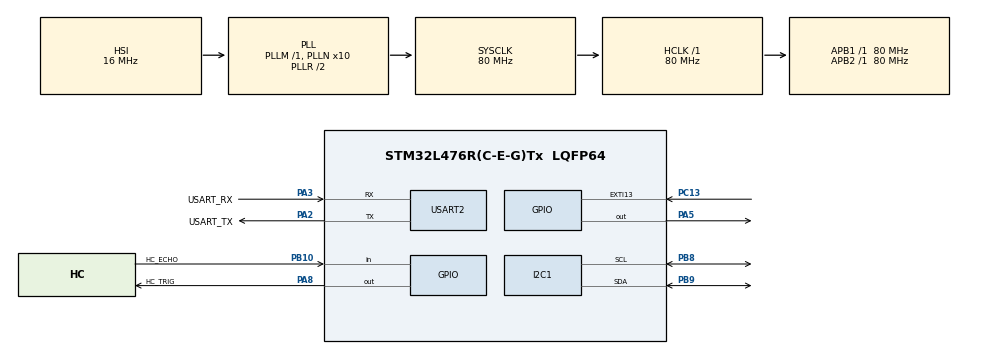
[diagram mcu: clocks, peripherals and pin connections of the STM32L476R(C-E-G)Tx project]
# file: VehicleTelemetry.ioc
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I2C1.Timing=0x10D19CE4
Mcu.Family=STM32L4
Mcu.Name=STM32L476R(C-E-G)Tx
Mcu.Package=LQFP64
NUCLEO-L476RG.BUTTON=1
NUCLEO-L476RG.LD2=true
NVIC.EXTI15_10_IRQn=true\:0\:0\:false\:false\:true\:false\:true\:true
NVIC.PriorityGroup=NVIC_PRIORITYGROUP_4
PA13\ (JTMS-SWDIO).GPIO_Label=TMS
PA13\ (JTMS-SWDIO).Signal=SYS_JTMS-SWDIO
PA14\ (JTCK-SWCLK).GPIO_Label=TCK
PA14\ (JTCK-SWCLK).Signal=SYS_JTCK-SWCLK
PA2.GPIO_Label=USART_TX
PA2.GPIO_Mode=GPIO_MODE_AF_PP
PA2.GPIO_PuPd=GPIO_NOPULL
PA2.GPIO_Speed=GPIO_SPEED_FREQ_VERY_HIGH
PA2.Mode=Asynchronous
PA2.Signal=USART2_TX
PA3.GPIO_Label=USART_RX
PA3.GPIO_Mode=GPIO_MODE_AF_PP
PA3.GPIO_PuPd=GPIO_NOPULL
PA3.GPIO_Speed=GPIO_SPEED_FREQ_VERY_HIGH
PA3.Mode=Asynchronous
PA3.Signal=USART2_RX
PA5.Signal=GPIO_Output
PA8.GPIO_Label=HC_TRIG
PA8.Signal=GPIO_Output
PB10.GPIO_Label=HC_ECHO
PB10.Signal=GPIO_Input
PB3\ (JTDO-TRACESWO).GPIO_Label=SWO
PB3\ (JTDO-TRACESWO).Signal=SYS_JTDO-SWO
PB8.Mode=I2C
PB8.Signal=I2C1_SCL
PB9.Mode=I2C
PB9.Signal=I2C1_SDA
PC13.Signal=GPXTI13
PC14-OSC32_IN\ (PC14).Signal=RCC_OSC32_IN
PC15-OSC32_OUT\ (PC15).Signal=RCC_OSC32_OUT
PH0-OSC_IN\ (PH0).Signal=RCC_OSC_IN
PH1-OSC_OUT\ (PH1).Signal=RCC_OSC_OUT
ProjectManager.HeapSize=0x200
ProjectManager.StackSize=0x400
ProjectManager.TargetToolchain=STM32CubeIDE
RCC.ADCFreq_Value=64000000
RCC.AHBFreq_Value=80000000
RCC.APB1Freq_Value=80000000
RCC.APB1TimFreq_Value=80000000
RCC.APB2Freq_Value=80000000
RCC.APB2TimFreq_Value=80000000
RCC.CortexFreq_Value=80000000
RCC.HCLKFreq_Value=80000000
RCC.HSE_VALUE=8000000
RCC.HSI_VALUE=16000000
RCC.LSE_VALUE=32768
RCC.MSI_VALUE=4000000
RCC.PLLN=10
RCC.PLLSourceVirtual=RCC_PLLSOURCE_HSI
RCC.PREFETCH_ENABLE=1
RCC.SYSCLKFreq_VALUE=80000000
RCC.SYSCLKSource=RCC_SYSCLKSOURCE_PLLCLK
RCC.USBFreq_Value=64000000
RCC.VCOOutputFreq_Value=160000000
TIM2.Prescaler=79
USART2.VirtualMode-Asynchronous=VM_ASYNC
VP_NUCLEO-L476RG_VS_BSP_COMMON.Mode=COMMON
VP_TIM2_VS_ClockSourceINT.Mode=Internal
board=NUCLEO-L476RG

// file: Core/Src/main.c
/* USER CODE BEGIN Header */
/**
  ******************************************************************************
  * @file           : main.c
  * @brief          : Main program body
  ******************************************************************************
  * @attention
  *
  * Copyright (c) 2026 STMicroelectronics.
  * All rights reserved.
  *
  * This software is licensed under terms that can be found in the LICENSE file
  * in the root directory of this software component.
  * If no LICENSE file comes with this software, it is provided AS-IS.
  *
  ******************************************************************************
  */
/* USER CODE END Header */
#include "main.h"

/* USER CODE BEGIN Includes */
#include <stdio.h>
#include <string.h>
/* USER CODE END Includes */

I2C_HandleTypeDef hi2c1;

TIM_HandleTypeDef htim2;

UART_HandleTypeDef huart2;

/* USER CODE BEGIN PV */
int16_t accel_x = 0;
int16_t accel_y = 0;
int16_t accel_z = 0;

int16_t gyro_x = 0;
int16_t gyro_y = 0;
int16_t gyro_z = 0;

int32_t ax_offset_raw = 0;
int32_t ay_offset_raw = 0;
int32_t az_offset_raw = 0;

int32_t gx_offset = 0;
int32_t gy_offset = 0;
int32_t gz_offset = 0;

int accel_count = 0;
int brake_count = 0;

int left_turn_count = 0;
int right_turn_count = 0;

uint32_t distance_samples[3] = {0, 0, 0};
uint8_t distance_index = 0;
uint8_t distance_samples_filled = 0;
/* USER CODE END PV */

void SystemClock_Config(void);
static void MX_GPIO_Init(void);
static void MX_USART2_UART_Init(void);
static void MX_I2C1_Init(void);
static void MX_TIM2_Init(void);

/* USER CODE BEGIN 0 */
uint32_t median3(uint32_t a, uint32_t b, uint32_t c)
{
    if (a > b)
    {
        uint32_t temp = a;
        a = b;
        b = temp;
    }

    if (b > c)
    {
        uint32_t temp = b;
        b = c;
        c = temp;
    }

    if (a > b)
    {
        uint32_t temp = a;
        a = b;
        b = temp;
    }

    return b;
}
/* USER CODE END 0 */

int main(void)
{

  /* MCU Configuration--------------------------------------------------------*/

  /* Reset of all peripherals, Initializes the Flash interface and the Systick. */
  HAL_Init();

  /* Configure the system clock */
  SystemClock_Config();

  /* Initialize all configured peripherals */
  MX_GPIO_Init();
  MX_USART2_UART_Init();
  MX_I2C1_Init();
  MX_TIM2_Init();
  /* USER CODE BEGIN 2 */

  char message[] = "Hello from STM32!\r\n";

  HAL_UART_Transmit(&huart2,
                    (uint8_t *)message,
                    strlen(message),
                    HAL_MAX_DELAY);

  uint8_t who_am_i = 0;
  HAL_StatusTypeDef status;
  char buffer[64];

  status = HAL_I2C_Mem_Read(&hi2c1, (0x68 << 1), 0x75, I2C_MEMADD_SIZE_8BIT, &who_am_i, 1, 100);

  if(status == HAL_OK){
	  snprintf(buffer, sizeof(buffer), "MPU6050 WHO_AM_I = 0x%02X\r\n", who_am_i);
  }
  else{
	  snprintf(buffer, sizeof(buffer), "MPU6050 I2C ERROR\r\n");

  }

  HAL_UART_Transmit(&huart2, (uint8_t *)buffer, strlen(buffer), HAL_MAX_DELAY);

  uint8_t wake = 0x00;
  //wake mpu6050
  HAL_I2C_Mem_Write(&hi2c1, (0x68 << 1), 0x6B, I2C_MEMADD_SIZE_8BIT, &wake, 1, 100);

  //starts timer
  HAL_TIM_Base_Start(&htim2);

  // Give sensor time to stabilize
  HAL_Delay(500);

  // ========================================
  // ACCELEROMETER CALIBRATION - 500 samples
  // ========================================
  int64_t ax_sum = 0;
  int64_t ay_sum = 0;
  int64_t az_sum = 0;

  uint8_t accel_cal[6];

  for(int i = 0; i < 500; i++){
	  //read accelerometer
	  HAL_I2C_Mem_Read(&hi2c1, (0x68 << 1), 0x3B, I2C_MEMADD_SIZE_8BIT, accel_cal, 6, 100);

	  int16_t ax_raw = (int16_t)((accel_cal[0] << 8) | accel_cal[1]);
	  int16_t ay_raw = (int16_t)((accel_cal[2] << 8) | accel_cal[3]);
	  int16_t az_raw = (int16_t)((accel_cal[4] << 8) | accel_cal[5]);

	  // accumulate raw accelerometer readings
	  ax_sum += ax_raw;
	  ay_sum += ay_raw;
	  az_sum += az_raw;

	  HAL_Delay(2);

  }

  ax_offset_raw = ax_sum / 500;
  ay_offset_raw = ay_sum / 500;
  az_offset_raw = az_sum / 500;

  // ========================================
  // GYROSCOPE CALIBRATION - keep 100 loop
  // ========================================

  int32_t gx_sum = 0;
  int32_t gy_sum = 0;
  int32_t gz_sum = 0;

  uint8_t gyro_cal[6];

  for(int i = 0; i < 100; i++){

	  //read gyroscope
	  HAL_I2C_Mem_Read(&hi2c1, (0x68 << 1), 0x43, I2C_MEMADD_SIZE_8BIT, gyro_cal, 6, 100);

	  int16_t gx_raw = (int16_t)((gyro_cal[0] << 8) | gyro_cal[1]);
	  int16_t gy_raw = (int16_t)((gyro_cal[2] << 8) | gyro_cal[3]);
	  int16_t gz_raw = (int16_t)((gyro_cal[4] << 8) | gyro_cal[5]);

	  gx_sum += gx_raw / 131;
	  gy_sum += gy_raw / 131;
	  gz_sum += gz_raw / 131;

	  HAL_Delay(10);

  }

  gx_offset = gx_sum / 100;
  gy_offset = gy_sum / 100;
  gz_offset = gz_sum / 100;

  /* USER CODE END 2 */

  /* Initialize leds */
  BSP_LED_Init(LED_GREEN);

  /* Initialize USER push-button, will be used to trigger an interrupt each time it's pressed.*/
  BSP_PB_Init(BUTTON_USER, BUTTON_MODE_EXTI);

  /* Infinite loop */
  /* USER CODE BEGIN WHILE */
  while (1)
  {
	  uint32_t echo_time = 0;
	  uint32_t distance_cm = 0;
	  uint8_t echo_valid = 1;
	  uint32_t filtered_distance_cm = 0;
    /* USER CODE END WHILE */

    /* USER CODE BEGIN 3 */

	//Make sure TRIG begins LOW
	HAL_GPIO_WritePin(HC_TRIG_GPIO_Port, HC_TRIG_Pin, GPIO_PIN_RESET);

	//wait about 2 microseconds
	__HAL_TIM_SET_COUNTER(&htim2, 0);
	while(__HAL_TIM_GET_COUNTER(&htim2) < 2){
		//waiting
	}
	//Sed=nd the HC_SR04 trigger pulse
	HAL_GPIO_WritePin(HC_TRIG_GPIO_Port, HC_TRIG_Pin, GPIO_PIN_SET);

	//keep it HIGH for 10 microseconds
	__HAL_TIM_SET_COUNTER(&htim2, 0);
	while(__HAL_TIM_GET_COUNTER(&htim2) < 10){
		//waiting
	}
	//End trigger pulse
	HAL_GPIO_WritePin(HC_TRIG_GPIO_Port, HC_TRIG_Pin, GPIO_PIN_RESET);

	// Reset timer while waiting for ECHO to begin
	__HAL_TIM_SET_COUNTER(&htim2, 0);

	// Wait for ECHO to go HIGH
	while (HAL_GPIO_ReadPin(HC_ECHO_GPIO_Port, HC_ECHO_Pin) == GPIO_PIN_RESET)
	{
	    // Give up if no echo arrives within 30 ms
	    if (__HAL_TIM_GET_COUNTER(&htim2) > 30000)
	    {
	        echo_valid = 0;
	        break;
	    }
	}

	// Only measure pulse if ECHO actually arrived
	if (echo_valid)
	{
	    // ECHO is HIGH now, so start timing FROM ZERO
	    __HAL_TIM_SET_COUNTER(&htim2, 0);

	    // Wait for ECHO to go LOW
	    while (HAL_GPIO_ReadPin(HC_ECHO_GPIO_Port, HC_ECHO_Pin) == GPIO_PIN_SET)
	    {
	        if (__HAL_TIM_GET_COUNTER(&htim2) > 30000)
	        {
	            echo_valid = 0;
	            break;
	        }
	    }

	    // Only calculate distance if pulse completed successfully
	    if (echo_valid)
	    {
	        echo_time = __HAL_TIM_GET_COUNTER(&htim2);
	        distance_cm = echo_time / 58;

	        // Save this valid reading into our 3-reading history
	        distance_samples[distance_index] = distance_cm;

	        // Move to the next position: 0 -> 1 -> 2 -> 0...
	        distance_index++;

	        if (distance_index >= 3)
	        {
	            distance_index = 0;
	        }

	        // Keep track of whether we have collected all 3 yet
	        if (distance_samples_filled < 3)
	        {
	            distance_samples_filled++;
	        }

	        // Once we have 3 readings, use their median
	        if (distance_samples_filled == 3)
	        {
	            filtered_distance_cm = median3(distance_samples[0],
	                                           distance_samples[1],
	                                           distance_samples[2]);
	        }
	        else
	        {
	            // During the first two readings, just use the current value
	            filtered_distance_cm = distance_cm;
	        }
	    }
	}

	uint8_t accel_data[6];
	uint8_t gyro_data[6];

	HAL_I2C_Mem_Read(&hi2c1, (0x68 << 1), 0x3B, I2C_MEMADD_SIZE_8BIT, accel_data, 6, 100);
	HAL_I2C_Mem_Read(&hi2c1, (0x68 << 1), 0x43, I2C_MEMADD_SIZE_8BIT, gyro_data, 6, 100);

	accel_x = (int16_t)((accel_data[0] << 8) | accel_data[1]);
	accel_y = (int16_t)((accel_data[2] << 8) | accel_data[3]);
	accel_z = (int16_t)((accel_data[4] << 8) | accel_data[5]);

	gyro_x = (int16_t)((gyro_data[0] << 8) | gyro_data[1]);
	gyro_y = (int16_t)((gyro_data[2] << 8) | gyro_data[3]);
	gyro_z = (int16_t)((gyro_data[4] << 8) | gyro_data[5]);

	int32_t ax_mg = ((int32_t)(accel_x - ax_offset_raw) * 1000) / 16384;
	int32_t ay_mg = ((int32_t)(accel_y - ay_offset_raw) * 1000) / 16384;
	int32_t az_mg = ((int32_t)(accel_z - az_offset_raw) * 1000) / 16384;

	int32_t gx_dps = gyro_x / 131;
	int32_t gy_dps = gyro_y / 131;
	int32_t gz_dps = gyro_z / 131;

	//subtract offset
	gx_dps -= gx_offset;
	gy_dps -= gy_offset;
	gz_dps -= gz_offset;

	//get driving state
	char driving_state[30];

	if(ay_mg > 300){
		accel_count++;
		brake_count = 0;
	}
	else if(ay_mg < -300){
		brake_count++;
		accel_count = 0;
	}
	else{
		accel_count = 0;
		brake_count = 0;
	}
	// Only declare an event after 3 consecutive readings
	if(accel_count >= 3){
		strcpy(driving_state, "ACCELERATING");
	}
	else if(brake_count >= 3){
		strcpy(driving_state, "BRAKING");
	}
	else{
		strcpy(driving_state, "NORMAL");
	}

	char turn_state[20];

	// Negative GZ = counterclockwise = left
	if (gz_dps < -30)
	{
	    left_turn_count++;
	    right_turn_count = 0;
	}

	// Positive GZ = clockwise = right
	else if (gz_dps > 30)
	{
	    right_turn_count++;
	    left_turn_count = 0;
	}

	// Not rotating enough to count as a turn
	else
	{
	    left_turn_count = 0;
	    right_turn_count = 0;
	}

	// Require 3 consecutive readings
	if (left_turn_count >= 3)
	{
	    strcpy(turn_state, "LEFT");
	}
	else if (right_turn_count >= 3)
	{
	    strcpy(turn_state, "RIGHT");
	}
	else
	{
	    strcpy(turn_state, "STRAIGHT");
	}

	char obstacle_state[20];

	if (!echo_valid)
	{
	    strcpy(obstacle_state, "UNKNOWN");
	}
	else if (filtered_distance_cm <= 20)
	{
	    strcpy(obstacle_state, "OBSTACLE");
	}
	else if (filtered_distance_cm <= 50)
	{
	    strcpy(obstacle_state, "CAUTION");
	}
	else
	{
	    strcpy(obstacle_state, "SAFE");
	}

	// Onboard LED acts as an obstacle warning
	if (echo_valid && filtered_distance_cm <= 20)
	{
	    BSP_LED_On(LED_GREEN);
	}
	else
	{
	    BSP_LED_Off(LED_GREEN);
	}

	//one clean line
	char telemetry_buffer[220];

	if (echo_valid)
	{
	    snprintf(telemetry_buffer,
	             sizeof(telemetry_buffer),
	             "ACCEL[X:%ld Y:%ld Z:%ld mg]  DRIVE:%s  "
	             "GYRO[X:%ld Y:%ld Z:%ld dps]  TURN:%s  "
	             "DIST:%lu cm  OBJECT:%s\r\n",
	             ax_mg,
	             ay_mg,
	             az_mg,
	             driving_state,
	             gx_dps,
	             gy_dps,
	             gz_dps,
	             turn_state,
	             filtered_distance_cm,
	             obstacle_state);
	}
	else
	{
	    snprintf(telemetry_buffer,
	             sizeof(telemetry_buffer),
	             "ACCEL[X:%ld Y:%ld Z:%ld mg]  DRIVE:%s  "
	             "GYRO[X:%ld Y:%ld Z:%ld dps]  TURN:%s  "
	             "DIST:NO ECHO  OBJECT:UNKNOWN\r\n",
	             ax_mg,
	             ay_mg,
	             az_mg,
	             driving_state,
	             gx_dps,
	             gy_dps,
	             gz_dps,
	             turn_state);
	}

	HAL_UART_Transmit(&huart2,
	                  (uint8_t *)telemetry_buffer,
	                  strlen(telemetry_buffer),
	                  HAL_MAX_DELAY);

	HAL_Delay(100);
  }
  /* USER CODE END 3 */
}

void SystemClock_Config(void)
{
  RCC_OscInitTypeDef RCC_OscInitStruct = {0};
  RCC_ClkInitTypeDef RCC_ClkInitStruct = {0};

  /** Configure the main internal regulator output voltage
  */
  if (HAL_PWREx_ControlVoltageScaling(PWR_REGULATOR_VOLTAGE_SCALE1) != HAL_OK)
  {
    Error_Handler();
  }

  /** Initializes the RCC Oscillators according to the specified parameters
  * in the RCC_OscInitTypeDef structure.
  */
  RCC_OscInitStruct.OscillatorType = RCC_OSCILLATORTYPE_HSI;
  RCC_OscInitStruct.HSIState = RCC_HSI_ON;
  RCC_OscInitStruct.HSICalibrationValue = RCC_HSICALIBRATION_DEFAULT;
  RCC_OscInitStruct.PLL.PLLState = RCC_PLL_ON;
  RCC_OscInitStruct.PLL.PLLSource = RCC_PLLSOURCE_HSI;
  RCC_OscInitStruct.PLL.PLLM = 1;
  RCC_OscInitStruct.PLL.PLLN = 10;
  RCC_OscInitStruct.PLL.PLLP = RCC_PLLP_DIV7;
  RCC_OscInitStruct.PLL.PLLQ = RCC_PLLQ_DIV2;
  RCC_OscInitStruct.PLL.PLLR = RCC_PLLR_DIV2;
  if (HAL_RCC_OscConfig(&RCC_OscInitStruct) != HAL_OK)
  {
    Error_Handler();
  }

  /** Initializes the CPU, AHB and APB buses clocks
  */
  RCC_ClkInitStruct.ClockType = RCC_CLOCKTYPE_HCLK|RCC_CLOCKTYPE_SYSCLK
                              |RCC_CLOCKTYPE_PCLK1|RCC_CLOCKTYPE_PCLK2;
  RCC_ClkInitStruct.SYSCLKSource = RCC_SYSCLKSOURCE_PLLCLK;
  RCC_ClkInitStruct.AHBCLKDivider = RCC_SYSCLK_DIV1;
  RCC_ClkInitStruct.APB1CLKDivider = RCC_HCLK_DIV1;
  RCC_ClkInitStruct.APB2CLKDivider = RCC_HCLK_DIV1;

  if (HAL_RCC_ClockConfig(&RCC_ClkInitStruct, FLASH_LATENCY_4) != HAL_OK)
  {
    Error_Handler();
  }
}

static void MX_I2C1_Init(void)
{

  hi2c1.Instance = I2C1;
  hi2c1.Init.Timing = 0x10D19CE4;
  hi2c1.Init.OwnAddress1 = 0;
  hi2c1.Init.AddressingMode = I2C_ADDRESSINGMODE_7BIT;
  hi2c1.Init.DualAddressMode = I2C_DUALADDRESS_DISABLE;
  hi2c1.Init.OwnAddress2 = 0;
  hi2c1.Init.OwnAddress2Masks = I2C_OA2_NOMASK;
  hi2c1.Init.GeneralCallMode = I2C_GENERALCALL_DISABLE;
  hi2c1.Init.NoStretchMode = I2C_NOSTRETCH_DISABLE;
  if (HAL_I2C_Init(&hi2c1) != HAL_OK)
  {
    Error_Handler();
  }

  /** Configure Analogue filter
  */
  if (HAL_I2CEx_ConfigAnalogFilter(&hi2c1, I2C_ANALOGFILTER_ENABLE) != HAL_OK)
  {
    Error_Handler();
  }

  /** Configure Digital filter
  */
  if (HAL_I2CEx_ConfigDigitalFilter(&hi2c1, 0) != HAL_OK)
  {
    Error_Handler();
  }

}

static void MX_TIM2_Init(void)
{

  TIM_ClockConfigTypeDef sClockSourceConfig = {0};
  TIM_MasterConfigTypeDef sMasterConfig = {0};

  htim2.Instance = TIM2;
  htim2.Init.Prescaler = 79;
  htim2.Init.CounterMode = TIM_COUNTERMODE_UP;
  htim2.Init.Period = 4294967295;
  htim2.Init.ClockDivision = TIM_CLOCKDIVISION_DIV1;
  htim2.Init.AutoReloadPreload = TIM_AUTORELOAD_PRELOAD_DISABLE;
  if (HAL_TIM_Base_Init(&htim2) != HAL_OK)
  {
    Error_Handler();
  }
  sClockSourceConfig.ClockSource = TIM_CLOCKSOURCE_INTERNAL;
  if (HAL_TIM_ConfigClockSource(&htim2, &sClockSourceConfig) != HAL_OK)
  {
    Error_Handler();
  }
  sMasterConfig.MasterOutputTrigger = TIM_TRGO_RESET;
  sMasterConfig.MasterSlaveMode = TIM_MASTERSLAVEMODE_DISABLE;
  if (HAL_TIMEx_MasterConfigSynchronization(&htim2, &sMasterConfig) != HAL_OK)
  {
    Error_Handler();
  }

}

static void MX_USART2_UART_Init(void)
{

  huart2.Instance = USART2;
  huart2.Init.BaudRate = 115200;
  huart2.Init.WordLength = UART_WORDLENGTH_8B;
  huart2.Init.StopBits = UART_STOPBITS_1;
  huart2.Init.Parity = UART_PARITY_NONE;
  huart2.Init.Mode = UART_MODE_TX_RX;
  huart2.Init.HwFlowCtl = UART_HWCONTROL_NONE;
  huart2.Init.OverSampling = UART_OVERSAMPLING_16;
  huart2.Init.OneBitSampling = UART_ONE_BIT_SAMPLE_DISABLE;
  huart2.AdvancedInit.AdvFeatureInit = UART_ADVFEATURE_NO_INIT;
  if (HAL_UART_Init(&huart2) != HAL_OK)
  {
    Error_Handler();
  }

}

static void MX_GPIO_Init(void)
{
  GPIO_InitTypeDef GPIO_InitStruct = {0};

  /* GPIO Ports Clock Enable */
  __HAL_RCC_GPIOC_CLK_ENABLE();
  __HAL_RCC_GPIOH_CLK_ENABLE();
  __HAL_RCC_GPIOA_CLK_ENABLE();
  __HAL_RCC_GPIOB_CLK_ENABLE();

  /*Configure GPIO pin Output Level */
  HAL_GPIO_WritePin(HC_TRIG_GPIO_Port, HC_TRIG_Pin, GPIO_PIN_RESET);

  /*Configure GPIO pin : HC_ECHO_Pin */
  GPIO_InitStruct.Pin = HC_ECHO_Pin;
  GPIO_InitStruct.Mode = GPIO_MODE_INPUT;
  GPIO_InitStruct.Pull = GPIO_NOPULL;
  HAL_GPIO_Init(HC_ECHO_GPIO_Port, &GPIO_InitStruct);

  /*Configure GPIO pin : HC_TRIG_Pin */
  GPIO_InitStruct.Pin = HC_TRIG_Pin;
  GPIO_InitStruct.Mode = GPIO_MODE_OUTPUT_PP;
  GPIO_InitStruct.Pull = GPIO_NOPULL;
  GPIO_InitStruct.Speed = GPIO_SPEED_FREQ_LOW;
  HAL_GPIO_Init(HC_TRIG_GPIO_Port, &GPIO_InitStruct);

}

void Error_Handler(void)
{
  __disable_irq();
  while (1)
  {
  }
}
